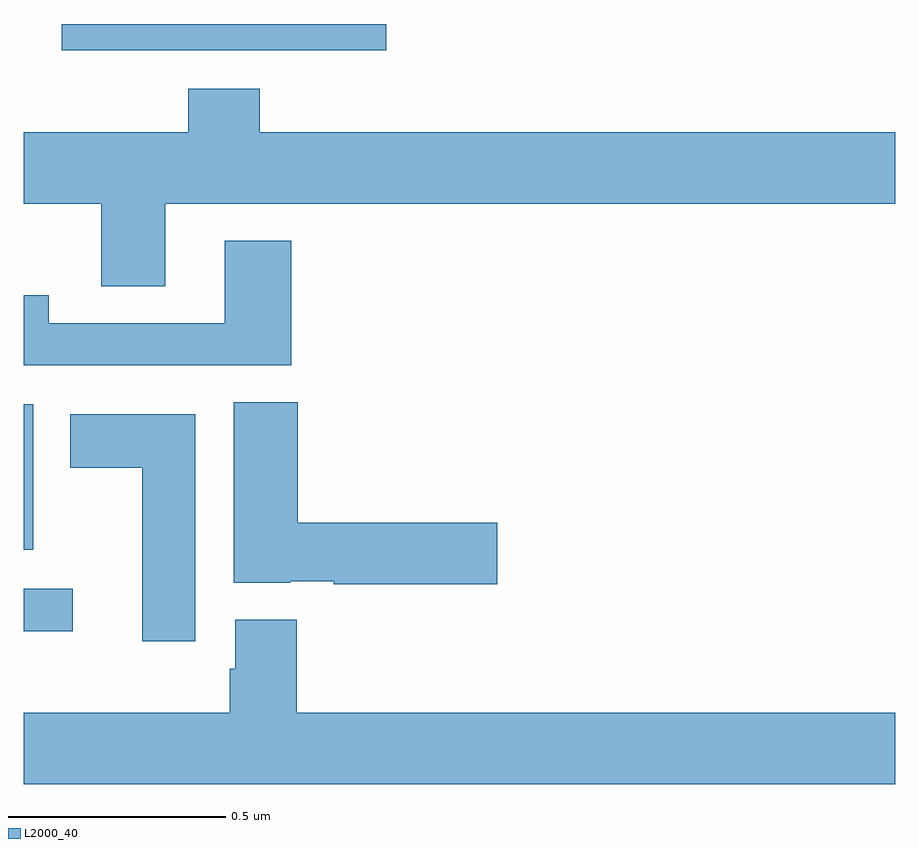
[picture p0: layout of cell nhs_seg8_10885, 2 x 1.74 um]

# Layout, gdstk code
import gdstk
lib = gdstk.Library(unit=1e-6, precision=1e-09)
def R(c, l, rs):  # rectangles x0, y0, x1, y1
    for r in rs: c.add(gdstk.rectangle(r[:2], r[2:], *l))
def P(c, l, *ps):  # polygons
    for p in ps: c.add(gdstk.Polygon(p, *l))
L2000_40 = (2000, 40)

nhs_seg8_10885 = lib.new_cell('nhs_seg8_10885')
R(nhs_seg8_10885, L2000_40, [(255,1127.507,255.112,1127.604), (255,1127.693,255.022,1128.028), (255.087,1128.84,255.832,1128.9)])
P(nhs_seg8_10885, L2000_40, [(255.325,1128.488),(257,1128.488),(257,1128.652),(255.542,1128.652),(255.542,1128.751),(255.377,1128.751),(255.377,1128.652),(255,1128.652),(255,1128.488),(255.178,1128.488),(255.178,1128.298),(255.325,1128.298)],
  [(255.614,1128.403),(255.461,1128.403),(255.461,1128.213),(255.057,1128.213),(255.057,1128.277),(255,1128.277),(255,1128.117),(255.614,1128.117)],
  [(256.087,1127.756),(255.629,1127.756),(255.629,1128.032),(255.482,1128.032),(255.482,1127.618),(255.612,1127.618),(255.612,1127.621),(255.712,1127.621),(255.712,1127.614),(256.087,1127.614)],
  [(255.394,1128.004),(255.107,1128.004),(255.107,1127.882),(255.272,1127.882),(255.272,1127.484),(255.394,1127.484)],
  [(257,1127.32),(255.626,1127.32),(255.626,1127.533),(255.485,1127.533),(255.485,1127.421),(255.473,1127.421),(255.473,1127.32),(255,1127.32),(255,1127.156),(257,1127.156)])

lib.write_gds('nhs_seg8_10885.gds')
